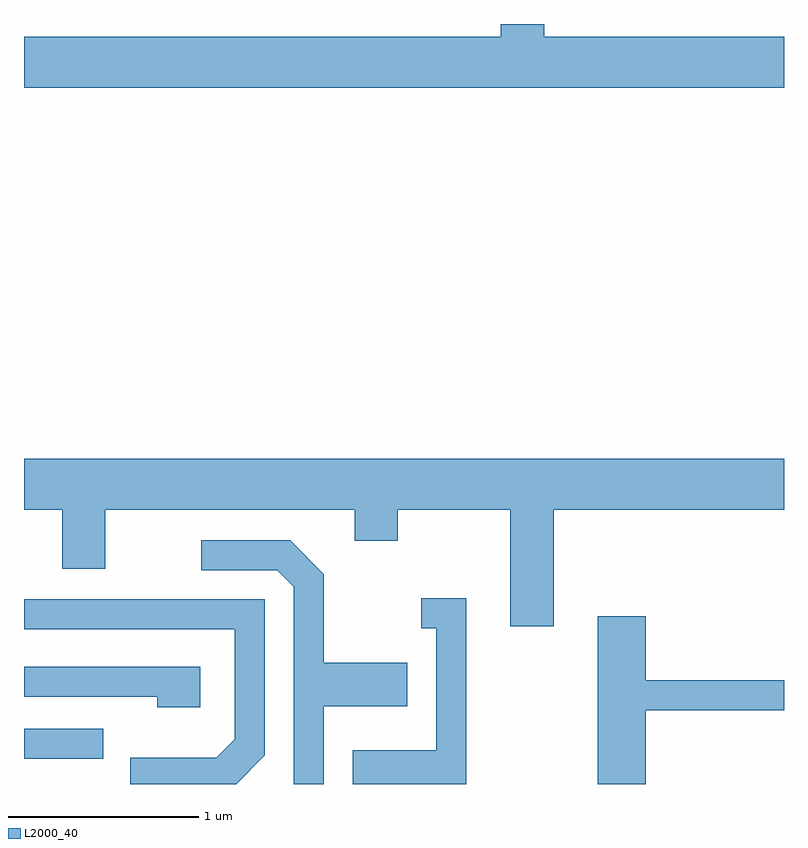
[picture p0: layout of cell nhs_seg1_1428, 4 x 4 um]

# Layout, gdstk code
import gdstk
lib = gdstk.Library(unit=1e-6, precision=1e-09)
def R(c, l, rs):  # rectangles x0, y0, x1, y1
    for r in rs: c.add(gdstk.rectangle(r[:2], r[2:], *l))
def P(c, l, *ps):  # polygons
    for p in ps: c.add(gdstk.Polygon(p, *l))
L2000_40 = (2000, 40)

nhs_seg1_1428 = lib.new_cell('nhs_seg1_1428')
R(nhs_seg1_1428, L2000_40, [(229.611,873.846,230.028,874.004)])
P(nhs_seg1_1428, L2000_40, [(233.611,877.644),(232.349,877.644),(232.349,877.712),(232.121,877.712),(232.121,877.644),(229.611,877.644),(229.611,877.376),(233.611,877.376)],
  [(232.399,875.156),(233.611,875.156),(233.611,875.424),(229.611,875.424),(229.611,875.156),(229.811,875.156),(229.811,874.846),(230.039,874.846),(230.039,875.156),(231.351,875.156),(231.351,874.991),(231.579,874.991),(231.579,875.156),(232.171,875.156),(232.171,874.541),(232.399,874.541)],
  [(231.189,874.121),(231.629,874.121),(231.629,874.349),(231.189,874.349),(231.189,874.817),(231.012,874.994),(230.543,874.994),(230.543,874.836),(230.944,874.836),(231.031,874.749),(231.031,873.712),(231.189,873.712)],
  [(231.939,874.689),(231.703,874.689),(231.703,874.531),(231.781,874.531),(231.781,873.889),(231.341,873.889),(231.341,873.712),(231.939,873.712)],
  [(230.879,873.864),(230.879,874.684),(229.611,874.684),(229.611,874.526),(230.721,874.526),(230.721,873.947),(230.624,873.849),(230.171,873.849),(230.171,873.712),(230.728,873.712)],
  [(232.884,874.101),(233.611,874.101),(233.611,874.259),(232.884,874.259),(232.884,874.594),(232.631,874.594),(232.631,873.712),(232.884,873.712)],
  [(230.539,874.329),(229.611,874.329),(229.611,874.171),(230.311,874.171),(230.311,874.116),(230.539,874.116)])

lib.write_gds('nhs_seg1_1428.gds')
